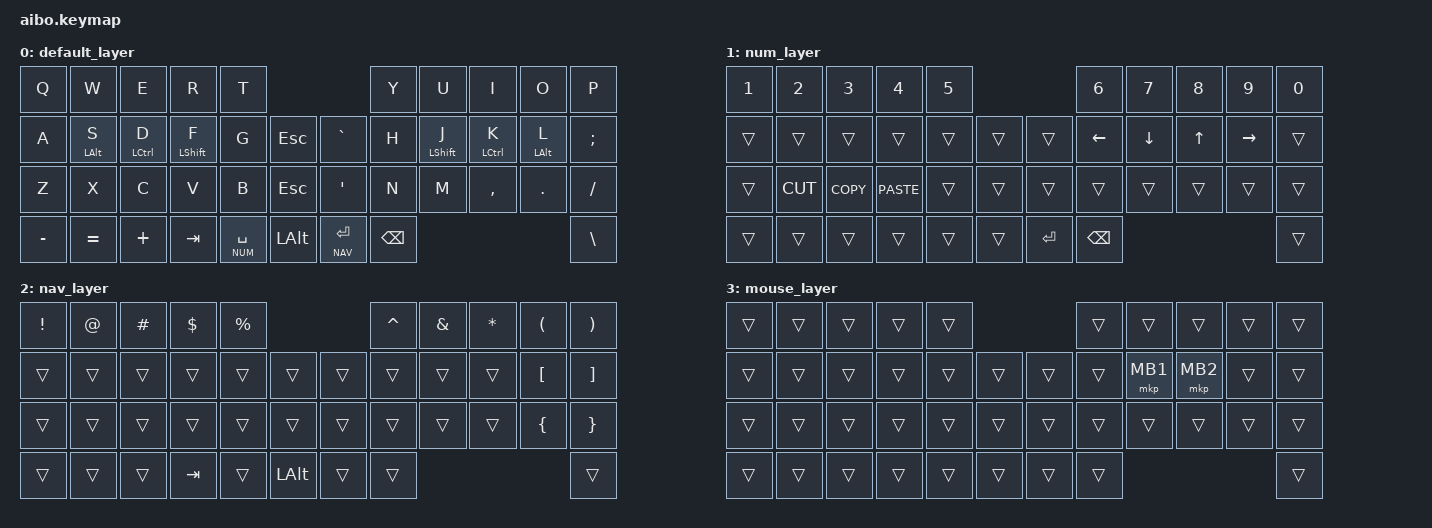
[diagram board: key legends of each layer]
/*
 * Copyright (c) 2020 The ZMK Contributors
 *
 * SPDX-License-Identifier: MIT
 */

#include <behaviors.dtsi>
#include <dt-bindings/zmk/keys.h>
#include <dt-bindings/zmk/bt.h>
#include <dt-bindings/zmk/mouse.h>

#define BASE 0
#define NUM 1
#define NAV 2
#define MOUSE 3

#include "42.h"

/* Homerow mods */

#define QUICK_TAP_MS 175

#define KEYS_L LT0 LT1 LT2 LT3 LT4 LM0 LM1 LM2 LM3 LM4 LB0 LB1 LB2 LB3 LB4  // left hand
#define KEYS_R RT0 RT1 RT2 RT3 RT4 RM0 RM1 RM2 RM3 RM4 RB0 RB1 RB2 RB3 RB4  // right hand
#define KEYS_T LH2 LH1 LH0 RH0 RH1 RH2                                      // thumbs


/ {
        behaviors {

                // Positional Homerow mods
                // Homerow mods that prevent accidental activations when rolling keys,
                // such as when typing `st` or `ne` on colemak-dh layouts or `as` on
                // qwerty.
                //
                // Works by only allowing a mod to activate within tapping-term if
                // it's on the opposite side of the keyboard or on the same side thumb
                // keys.

                // Further optimization using urob's timerless homerow mods method:
                // https://github.com/urob/zmk-config#timeless-homerow-mods

                hml: homerow_mods_left {
                        compatible = "zmk,behavior-hold-tap";
                        #binding-cells = <2>;

                        flavor = "balanced";
                        tapping-term-ms = <280>;
                        quick-tap-ms = <QUICK_TAP_MS>;
                        require-prior-idle-ms = <150>;
                        bindings = <&kp>, <&kp>;
                        hold-trigger-key-positions = <KEYS_R KEYS_T>;
                        hold-trigger-on-release;
                };

                hmr: homerow_mods_right {
                        compatible = "zmk,behavior-hold-tap";
                        #binding-cells = <2>;
                        bindings = <&kp>, <&kp>;

                        flavor = "balanced";
                        tapping-term-ms = <280>;
                        quick_tap_ms = <QUICK_TAP_MS>;
                        require-prior-idle-ms = <150>;
                        bindings = <&kp>, <&kp>;
                        hold-trigger-key-positions = <KEYS_L KEYS_T>;
                        hold-trigger-on-release;
                };
        };

        keymap {
                compatible = "zmk,keymap";

                default_layer {
// -----------------------------------------------------------------------------------------
// |  Q  |  W  |  E  |  R  |  T  |               |  Y   |  U  |  I  |  O  |  P  |
// |  A  |  S  |  D  |  F  |  G  | ESC |   |  ~  |  H   |  J  |  K  |  L  |  ;  |
// |  Z  |  X  |  C  |  V  |  B  | ESC |   |  "  |  N   |  M  |  <  |  >  |  ?  |
// |  -  |  =  |  +  | TAB |SPACE| ALT |   | RET | BSPC |                 |  \  |
                        bindings = <
   &kp Q     &kp W          &kp E           &kp R           &kp T                                    &kp Y    &kp U           &kp I           &kp O          &kp P
   &kp A     &hml LALT S    &hml LCTRL D    &hml LSHFT F    &kp G          &kp ESC     &kp GRAVE     &kp H    &hmr LSHFT J    &hmr LCTRL K    &hmr LALT L    &kp SEMI
   &kp Z     &kp X          &kp C           &kp V           &kp B          &kp ESC     &kp SQT       &kp N    &kp M           &kp COMMA       &kp DOT        &kp FSLH
   &kp MINUS &kp EQUAL      &kp PLUS        &kp TAB         &lt NUM SPACE  &kp LALT    &lt NAV RET   &kp BSPC                                                &kp BSLH
                        >;
                };
                num_layer {
// -----------------------------------------------------------------------------------------
// |  1  |  2  |  3  |  4  |  5  |               |  6   |  7  |  8  |  9  |  0  |
// |     |     |     |     |     |     |   |     | LFT  | DWN |  UP | RGT |     |
// | UNDO| CUT |COPY |PASTE|     |     |   |     |      |     |     |     |     |
// |     |     |     |     |     |     |   |SPACE| BSPC |                 |     |
                        bindings = <
   &kp N1      &kp N2    &kp N3      &kp N4      &kp N5                        &kp N6    &kp N7    &kp N8  &kp N9    &kp N0
   &trans      &trans    &trans      &trans      &trans    &trans    &trans    &kp LEFT  &kp DOWN  &kp UP  &kp RIGHT &trans
   &trans      &kp K_CUT &kp K_COPY  &kp K_PASTE &trans    &trans    &trans    &trans    &trans    &trans  &trans    &trans
   &trans      &trans    &trans      &trans      &trans    &trans    &kp RET   &kp BSPC                              &trans
                        >;
                };

                nav_layer {
// -----------------------------------------------------------------------------------------
// |  !  |  @  |  #  |  $  |  %  |               |  ^   |  &  |  *  |  (  |  )  |
// |     |     |     |     |     |     |   |     |      |     |     |  [  |  ]  |
// |     |     |     |     |     |     |   |     |      |     |     |  {  |  }  |
// |     |     |     |     |     |     |   |     |      |                 |     |
                        bindings = <
   &kp EXCL    &kp AT    &kp HASH    &kp DLLR    &kp PRCNT                     &kp CARET   &kp AMPS    &kp ASTRK    &kp LPAR    &kp RPAR
   &trans      &trans    &trans      &trans      &trans    &trans    &trans    &trans      &trans      &trans       &kp LBKT    &kp RBKT
   &trans      &trans    &trans      &trans      &trans    &trans    &trans    &trans      &trans      &trans       &kp LBRC    &kp RBRC
   &trans      &trans    &trans      &kp TAB     &trans    &kp LALT  &trans    &trans                                           &trans
                        >;
                };

                mouse_layer {
// -----------------------------------------------------------------------------------------
// |     |     |     |     |     |               |      |      |      |      |     |
// |     |     |     |     |     |     |   |     |      | LCLK | RCLK |      |     |
// |     |     |     |     |     |     |   |     |      |      |      |      |     |
// |     |     |     |     |     |     |   |     |      |                    |     |
                        bindings = <
   &trans      &trans    &trans      &trans      &trans                        &trans      &trans      &trans       &trans      &trans
   &trans      &trans    &trans      &trans      &trans    &trans    &trans    &trans      &mkp MB1    &mkp MB2     &trans      &trans
   &trans      &trans    &trans      &trans      &trans    &trans    &trans    &trans      &trans      &trans       &trans      &trans
   &trans      &trans    &trans      &trans      &trans    &trans    &trans    &trans                                           &trans
                        >;
                };
        };
};
